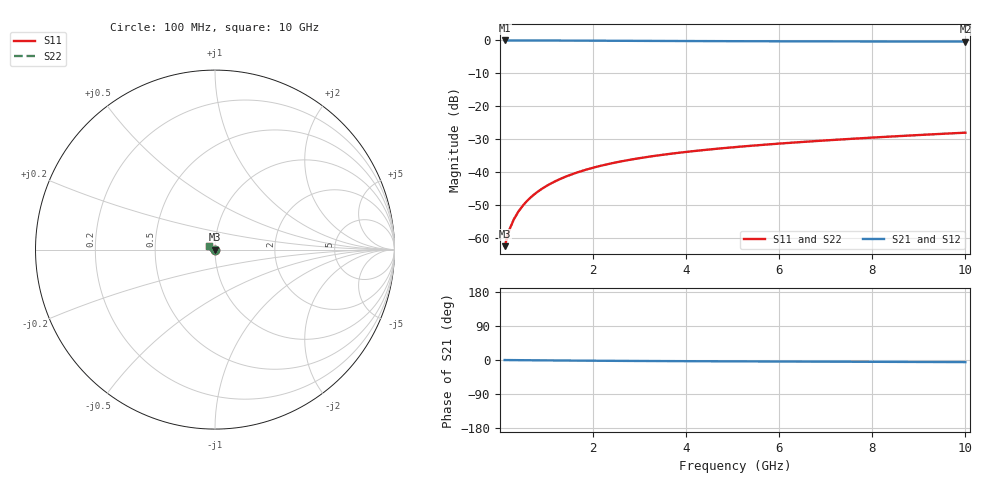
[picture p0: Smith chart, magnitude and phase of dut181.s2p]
! Touchstone file exported from HFSS 2024.1.0
!  File:  C:/UserFiles/LocalFiles/RDL_TSV_Batchsim/temp_TSV1_181_1779384127.aedt
!  Generated:  01:28:14 AM May 22, 2026
!  Design:  TSV1
!  Project:  temp_TSV1_181_1779384127
!  Setup:  Setup1
!  Solution:  Sweep
! Variables:
!  dtsv = 5.83um
!  hbump = 3um
!  htsv = 83.07um
!  lrdl = 252.1521522um
!  p = 40
!  p1 = 48.89um
!  t = 500um
!  trdl = 3um
!  wrdl = 24.89489489um
# GHz S MA R 50.000000
! Terminal data exported
! Port[1] = TSV22_T1
! Port[2] = TSV22_T2
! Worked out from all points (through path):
!   100 points, 100 MHz to 10 GHz, reference 50 ohm
!   highest |S21| = 0.00 dB at 100 MHz (marker M1); lowest = -0.3 dB at 10 GHz (marker M2)
!   lowest |S11| = -62.5 dB at 100 MHz (marker M3), VSWR 1.00, Z = 50 - j0.063 ohm
!   |S11| at or under -10 dB: start of sweep to end of sweep
!   |S22| runs from -62.5 to -28.0 dB; largest |S21 - S12| = 4.3e-15
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0.1  0.000747 -57.5  0.9995 -0.1  0.9995 -0.1  0.000747 -57.5
! Gamma 0 0 0 0
! Port Impedance 50 0 50 0
0.2  0.001316 -75.3  0.9995 -0.2  0.9995 -0.2  0.001316 -75.3
0.3  0.001919 -83.6  0.9993 -0.3  0.9993 -0.3  0.001919 -83.6
0.4  0.00253 -88.9  0.9992 -0.4  0.9992 -0.4  0.00253 -88.9
0.5  0.003142 -93.0  0.9989 -0.5  0.9989 -0.5  0.003142 -93.0
0.6  0.003752 -96.5  0.9987 -0.6  0.9987 -0.6  0.003752 -96.5
0.7  0.004358 -99.6  0.9984 -0.7  0.9984 -0.7  0.004358 -99.6
0.8  0.00496 -102.4  0.998 -0.8  0.998 -0.8  0.00496 -102.4
0.9  0.005556 -105.1  0.9976 -0.9  0.9976 -0.9  0.005556 -105.1
1.1  0.00673 -110.1  0.9968 -1.1  0.9968 -1.1  0.00673 -110.1
1.4  0.008436 -117.0  0.9952 -1.4  0.9952 -1.4  0.008436 -117.0
1.6  0.009532 -121.3  0.9941 -1.6  0.9941 -1.6  0.009532 -121.3
1.8  0.01059 -125.5  0.9929 -1.7  0.9929 -1.7  0.01059 -125.5
2.1  0.01212 -131.4  0.991 -2.0  0.991 -2.0  0.01212 -131.4
2.5  0.01404 -138.8  0.9883 -2.3  0.9883 -2.3  0.01404 -138.8
2.9  0.01582 -145.7  0.9857 -2.5  0.9857 -2.5  0.01582 -145.7
3.4  0.0179 -153.7  0.9826 -2.8  0.9826 -2.8  0.0179 -153.7
4.2  0.02094 -164.9  0.9781 -3.2  0.9781 -3.2  0.02094 -164.9
5.1  0.02408 -175.8  0.974 -3.6  0.974 -3.6  0.02408 -175.8
6.7  0.02928 168.7  0.9684 -4.3  0.9684 -4.3  0.02928 168.7
8.4  0.03463 156.0  0.9643 -4.9  0.9643 -4.9  0.03463 156.0
10  0.03966 146.6  0.9616 -5.6  0.9616 -5.6  0.03966 146.6
